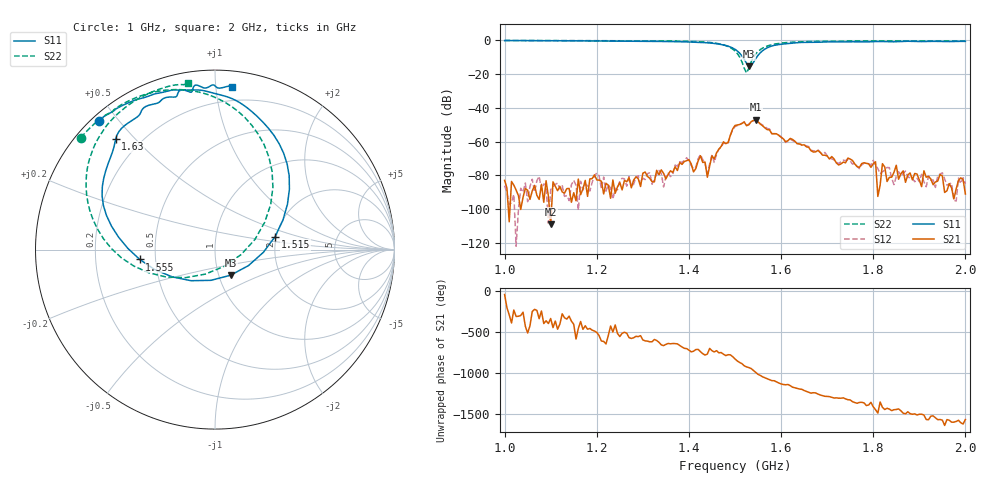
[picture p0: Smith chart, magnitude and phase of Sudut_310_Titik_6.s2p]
# Hz S RI R 50
! CMT, C1220, 16058040, 17.2.0/1
! Date: 14/08/2018 12:25:04
! Data: Format (Calibration Info)
! Freq  S11: Re/Im (F2)  S21: Re/Im (F2)  S12: Re/Im (F2)  S22: Re/Im (F2)
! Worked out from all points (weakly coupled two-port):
!   201 points, 1 GHz to 2 GHz, reference 50 ohm
!   highest |S21| = -47.09 dB at 1.545 GHz (marker M1); lowest = -108.9 dB at 1.1 GHz (marker M2)
!   lowest |S11| = -15.5 dB at 1.53 GHz (marker M3), VSWR 1.40, Z = 56.9 - j16.7 ohm
!   |S11| at or under -10 dB: 1.517 GHz to 1.547 GHz (30.82 MHz wide, 2.01 % of centre)
!   |S22| runs from -19.5 to -0.2 dB; largest |S21 - S12| = 0.00022
!   S11 on the Smith chart (normalised r, x): 1 GHz: 0.02, +0.44; 1.515 GHz: 1.97, +0.32; 1.555 GHz: 0.41, -0.05; 1.63 GHz: 0.11, +0.44; 2 GHz: 0.10, +1.11
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1e9  -0.6464 0.7149  5.08e-05 -5.05e-05  3.4e-05 3.61e-05  -0.7479 0.6241
1.1e9  -0.5521 0.7835  3.3e-06 1.4e-06  3.01e-05 2.36e-05  -0.6749 0.6983
1.17e9  -0.4716 0.8224  -1.29e-05 -3.79e-05  2.43e-05 -2.77e-05  -0.6111 0.7486
1.335e9  -0.2088 0.889  -4.74e-06 0.000105  1.1e-06 0.000141  -0.3962 0.8623
1.4e9  -0.0295 0.8774  0.000293 -8.12e-06  0.000268 -3.59e-05  -0.2219 0.8914
1.41e9  0.00977 0.8672  0.000122 -3.46e-05  0.000153 -4.14e-05  -0.1828 0.8907
1.425e9  0.0766 0.8483  0.000357 -0.000135  0.000391 -0.000134  -0.1147 0.8825
1.44e9  0.1364 0.8196  5.69e-05 -6.8e-05  5.75e-05 -9.67e-05  -0.0355 0.8623
1.45e9  0.1804 0.7891  0.000376 -5.98e-05  0.000396 -9.79e-05  0.0262 0.8361
1.455e9  0.2063 0.768  0.000281 -0.000126  0.000208 -0.000125  0.0596 0.8182
1.5e9  0.4146 0.3357  -0.00101 -0.00281  -0.000963 -0.00261  0.3227 0.3481
1.515e9  0.3343 0.0716  -0.00335 -0.000785  -0.00333 -0.00098  0.2226 0.0567
1.53e9  0.0865 -0.1429  -0.00258 0.00179  -0.00268 0.00182  -0.0543 -0.1367
1.545e9  -0.239 -0.1518  0.000195 0.00441  7.66e-05 0.00436  -0.3694 -0.1288
1.555e9  -0.419 -0.0551  0.00217 0.00248  0.0021 0.00263  -0.5221 -0.0452
1.63e9  -0.5531 0.6167  -0.000205 -0.001  -0.000155 -0.000955  -0.6862 0.5423
1.67e9  -0.4347 0.7377  -0.000467 -0.000158  -0.0005 -0.00019  -0.6184 0.6705
1.82e9  -0.1703 0.8883  0.000208 7.91e-05  0.000127 -2.02e-05  -0.3903 0.86
1.835e9  -0.1386 0.8774  8.77e-05 -9.53e-07  0.000167 -3.15e-05  -0.3708 0.8698
1.85e9  -0.1263 0.8866  0.000198 -2.01e-05  9.4e-05 -2.54e-06  -0.3504 0.8787
1.855e9  -0.124 0.8957  7.74e-05 2.18e-06  0.000128 -2.23e-05  -0.3434 0.8811
2e9  0.0969 0.9077  -1.72e-05 -2.24e-05  -5.6e-05 -8.64e-06  -0.1488 0.9277
